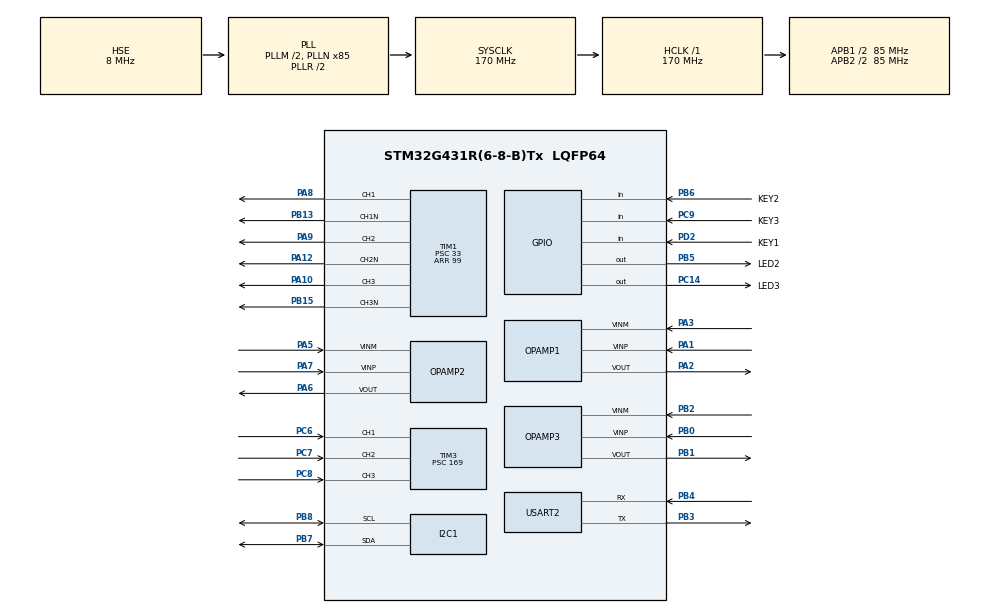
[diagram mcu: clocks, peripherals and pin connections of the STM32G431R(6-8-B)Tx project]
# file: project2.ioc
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ADC1.Channel-0\#ChannelRegularConversion=ADC_CHANNEL_3
ADC1.Channel-1\#ChannelRegularConversion=ADC_CHANNEL_12
ADC1.DMAContinuousRequests=ENABLE
ADC1.EOCSelection=ADC_EOC_SEQ_CONV
ADC1.EnableInjectedConversion=DISABLE
ADC1.ExternalTrigConv=ADC_EXTERNALTRIG_T1_TRGO
ADC1.Mode=ADC_MODE_INDEPENDENT
ADC1.NbrOfConversion=2
ADC1.NbrOfConversionFlag=1
ADC1.OffsetNumber-0\#ChannelRegularConversion=ADC_OFFSET_NONE
ADC1.OffsetNumber-1\#ChannelRegularConversion=ADC_OFFSET_NONE
ADC1.Rank-0\#ChannelRegularConversion=1
ADC1.Rank-1\#ChannelRegularConversion=2
ADC1.SamplingTime-0\#ChannelRegularConversion=ADC_SAMPLETIME_12CYCLES_5
ADC1.SamplingTime-1\#ChannelRegularConversion=ADC_SAMPLETIME_12CYCLES_5
ADC1.master=1
ADC2.Channel-0\#ChannelRegularConversion=ADC_CHANNEL_3
ADC2.DMAContinuousRequests=ENABLE
ADC2.ExternalTrigConv=ADC_EXTERNALTRIG_T1_TRGO
ADC2.NbrOfConversionFlag=1
ADC2.OffsetNumber-0\#ChannelRegularConversion=ADC_OFFSET_NONE
ADC2.Rank-0\#ChannelRegularConversion=1
ADC2.SamplingTime-0\#ChannelRegularConversion=ADC_SAMPLETIME_12CYCLES_5
Dma.ADC1.0.Direction=DMA_PERIPH_TO_MEMORY
Dma.ADC1.0.EventEnable=DISABLE
Dma.ADC1.0.Instance=DMA1_Channel1
Dma.ADC1.0.MemDataAlignment=DMA_MDATAALIGN_HALFWORD
Dma.ADC1.0.MemInc=DMA_MINC_ENABLE
Dma.ADC1.0.Mode=DMA_CIRCULAR
Dma.ADC1.0.PeriphDataAlignment=DMA_PDATAALIGN_HALFWORD
Dma.ADC1.0.PeriphInc=DMA_PINC_DISABLE
Dma.ADC1.0.Polarity=HAL_DMAMUX_REQ_GEN_RISING
Dma.ADC1.0.Priority=DMA_PRIORITY_LOW
Dma.ADC1.0.RequestNumber=1
Dma.ADC1.0.SignalID=NONE
Dma.ADC1.0.SyncEnable=DISABLE
Dma.ADC1.0.SyncPolarity=HAL_DMAMUX_SYNC_NO_EVENT
Dma.ADC1.0.SyncRequestNumber=1
Dma.ADC1.0.SyncSignalID=NONE
Dma.ADC2.1.Direction=DMA_PERIPH_TO_MEMORY
Dma.ADC2.1.EventEnable=DISABLE
Dma.ADC2.1.Instance=DMA1_Channel2
Dma.ADC2.1.MemDataAlignment=DMA_MDATAALIGN_HALFWORD
Dma.ADC2.1.MemInc=DMA_MINC_ENABLE
Dma.ADC2.1.Mode=DMA_CIRCULAR
Dma.ADC2.1.PeriphDataAlignment=DMA_PDATAALIGN_HALFWORD
Dma.ADC2.1.PeriphInc=DMA_PINC_DISABLE
Dma.ADC2.1.Polarity=HAL_DMAMUX_REQ_GEN_RISING
Dma.ADC2.1.Priority=DMA_PRIORITY_LOW
Dma.ADC2.1.RequestNumber=1
Dma.ADC2.1.SignalID=NONE
Dma.ADC2.1.SyncEnable=DISABLE
Dma.ADC2.1.SyncPolarity=HAL_DMAMUX_SYNC_NO_EVENT
Dma.ADC2.1.SyncRequestNumber=1
Dma.ADC2.1.SyncSignalID=NONE
Dma.Request0=ADC1
Dma.Request1=ADC2
I2C1.Timing=0x10E1A6F2
Mcu.Family=STM32G4
Mcu.Name=STM32G431R(6-8-B)Tx
Mcu.Package=LQFP64
NVIC.DMA1_Channel1_IRQn=true\:0\:0\:false\:false\:true\:false\:true\:true
NVIC.DMA1_Channel2_IRQn=true\:0\:0\:false\:false\:true\:false\:true\:true
NVIC.I2C1_EV_IRQn=true\:0\:0\:false\:false\:true\:true\:true\:true
NVIC.PriorityGroup=NVIC_PRIORITYGROUP_4
NVIC.TIM1_UP_TIM16_IRQn=true\:0\:0\:false\:false\:true\:true\:true\:true
NVIC.TIM2_IRQn=true\:2\:0\:true\:false\:true\:true\:true\:true
NVIC.TIM3_IRQn=true\:1\:0\:true\:false\:true\:true\:true\:true
NVIC.USART2_IRQn=true\:3\:0\:true\:false\:true\:true\:true\:true
PA1.Mode=Standalone
PA1.Signal=OPAMP1_VINP
PA10.Signal=S_TIM1_CH3
PA12.Mode=PWM Generation2 CH2 CH2N
PA12.Signal=TIM1_CH2N
PA13.Mode=Serial_Wire
PA13.Signal=SYS_JTMS-SWDIO
PA14.Mode=Serial_Wire
PA14.Signal=SYS_JTCK-SWCLK
PA2.Signal=SharedAnalog_PA2
PA3.Mode=Standalone
PA3.Signal=OPAMP1_VINM
PA5.Mode=Standalone
PA5.Signal=OPAMP2_VINM
PA6.Signal=SharedAnalog_PA6
PA7.Mode=Standalone
PA7.Signal=OPAMP2_VINP
PA8.Signal=S_TIM1_CH1
PA9.Signal=S_TIM1_CH2
PB0.Mode=Standalone
PB0.Signal=OPAMP3_VINP
PB1.Signal=SharedAnalog_PB1
PB13.Mode=PWM Generation1 CH1 CH1N
PB13.Signal=TIM1_CH1N
PB15.Mode=PWM Generation3 CH3 CH3N
PB15.Signal=TIM1_CH3N
PB2.Mode=Standalone
PB2.Signal=OPAMP3_VINM
PB3.Mode=Asynchronous
PB3.Signal=USART2_TX
PB4.Mode=Asynchronous
PB4.Signal=USART2_RX
PB5.GPIO_Label=LED2
PB5.PinState=GPIO_PIN_SET
PB5.Signal=GPIO_Output
PB6.GPIO_Label=KEY2
PB6.Signal=GPIO_Input
PB7.Mode=I2C
PB7.Signal=I2C1_SDA
PB8-BOOT0.Mode=I2C
PB8-BOOT0.Signal=I2C1_SCL
PC14-OSC32_IN.GPIO_Label=LED3
PC14-OSC32_IN.PinState=GPIO_PIN_SET
PC14-OSC32_IN.Signal=GPIO_Output
PC6.Signal=S_TIM3_CH1
PC7.Signal=S_TIM3_CH2
PC8.Signal=S_TIM3_CH3
PC9.GPIO_Label=KEY3
PC9.Signal=GPIO_Input
PD2.GPIO_Label=KEY1
PD2.Signal=GPIO_Input
PF0-OSC_IN.Mode=HSE-External-Oscillator
PF0-OSC_IN.Signal=RCC_OSC_IN
PF1-OSC_OUT.Mode=HSE-External-Oscillator
PF1-OSC_OUT.Signal=RCC_OSC_OUT
ProjectManager.HeapSize=0x200
ProjectManager.StackSize=0x400
ProjectManager.TargetToolchain=MDK-ARM V5.32
RCC.ADC12Freq_Value=170000000
RCC.AHBFreq_Value=170000000
RCC.APB1CLKDivider=RCC_HCLK_DIV2
RCC.APB1Freq_Value=85000000
RCC.APB1TimFreq_Value=170000000
RCC.APB2CLKDivider=RCC_HCLK_DIV2
RCC.APB2Freq_Value=85000000
RCC.APB2TimFreq_Value=170000000
RCC.CortexFreq_Value=170000000
RCC.EXTERNAL_CLOCK_VALUE=12288000
RCC.HCLKFreq_Value=170000000
RCC.HSE_VALUE=8000000
RCC.HSI48_VALUE=48000000
RCC.HSI_VALUE=16000000
RCC.LSE_VALUE=32768
RCC.PLLM=RCC_PLLM_DIV2
RCC.PLLN=85
RCC.PLLSourceVirtual=RCC_PLLSOURCE_HSE
RCC.SYSCLKFreq_VALUE=170000000
RCC.SYSCLKSource=RCC_SYSCLKSOURCE_PLLCLK
RCC.USBFreq_Value=170000000
RCC.VCOOutputFreq_Value=340000000
SH.S_TIM1_CH1.0=TIM1_CH1,PWM Generation1 CH1 CH1N
SH.S_TIM1_CH2.0=TIM1_CH2,PWM Generation2 CH2 CH2N
SH.S_TIM1_CH3.0=TIM1_CH3,PWM Generation3 CH3 CH3N
SH.S_TIM3_CH1.0=TIM3_CH1,Xored_Inputs_Hall_Sensor_Interface
SH.S_TIM3_CH2.0=TIM3_CH2,Xored_Inputs_Hall_Sensor_Interface
SH.S_TIM3_CH3.0=TIM3_CH3,Xored_Inputs_Hall_Sensor_Interface
SH.SharedAnalog_PA2.0=OPAMP1_VOUT,Standalone
SH.SharedAnalog_PA2.1=ADC1_IN3,IN3-Single-Ended
SH.SharedAnalog_PA6.0=OPAMP2_VOUT,Standalone
SH.SharedAnalog_PA6.1=ADC2_IN3,IN3-Single-Ended
SH.SharedAnalog_PB1.0=OPAMP3_VOUT,Standalone
SH.SharedAnalog_PB1.1=ADC1_IN12,IN12-Single-Ended
TIM1.AutoReloadPreload=TIM_AUTORELOAD_PRELOAD_ENABLE
TIM1.Channel-PWM\ Generation1\ CH1\ CH1N=TIM_CHANNEL_1
TIM1.Channel-PWM\ Generation2\ CH2\ CH2N=TIM_CHANNEL_2
TIM1.Channel-PWM\ Generation3\ CH3\ CH3N=TIM_CHANNEL_3
TIM1.CounterMode=TIM_COUNTERMODE_CENTERALIGNED1
TIM1.DeadTime=10
TIM1.PeriodNoDither=99
TIM1.Prescaler=33
TIM1.TIM_MasterOutputTrigger=TIM_TRGO_UPDATE
TIM2.PeriodNoDither=999
TIM2.Prescaler=169
TIM3.Prescaler=169
USART2.VirtualMode-Asynchronous=VM_ASYNC
VP_SYS_VS_DBSignals.Mode=DisableDeadBatterySignals
VP_TIM2_VS_ClockSourceINT.Mode=Internal
VP_TIM3_VS_ClockSourceINT.Mode=Internal
board=custom

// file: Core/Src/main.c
/* USER CODE BEGIN Header */
/**
  ******************************************************************************
  * @file           : main.c
  * @brief          : Main program body
  ******************************************************************************
  * @attention
  *
  * Copyright (c) 2026 STMicroelectronics.
  * All rights reserved.
  *
  * This software is licensed under terms that can be found in the LICENSE file
  * in the root directory of this software component.
  * If no LICENSE file comes with this software, it is provided AS-IS.
  *
  ******************************************************************************
  */
/* USER CODE END Header */
#include "main.h"
#include "adc.h"
#include "dma.h"
#include "i2c.h"
#include "opamp.h"
#include "tim.h"
#include "usart.h"
#include "gpio.h"

/* USER CODE BEGIN Includes */
#include "foc.h"
#include "bms.h"
#include "comm.h"
#include "display.h"
#include "key.h"
#include "BLDC_motor.h"
#include "encoder.h"
#include "current.h"
/* USER CODE END Includes */

void SystemClock_Config(void);

int main(void)
{

  /* MCU Configuration--------------------------------------------------------*/

  /* Reset of all peripherals, Initializes the Flash interface and the Systick. */
  HAL_Init();

  /* Configure the system clock */
  SystemClock_Config();

  /* Initialize all configured peripherals */
  MX_GPIO_Init();
  MX_DMA_Init();
  MX_USART2_UART_Init();
  MX_TIM1_Init();
  MX_TIM2_Init();
  MX_TIM3_Init();
  MX_I2C1_Init();
  MX_ADC1_Init();
  MX_ADC2_Init();
  MX_OPAMP1_Init();
  MX_OPAMP2_Init();
  MX_OPAMP3_Init();
  /* USER CODE BEGIN 2 */
  //BLDC_Motor_Init(&htim1);  // 初始化电机驱动，使用TIM1作为电机驱动的定时器

	//开启TIM2定时器中断
  HAL_TIM_Base_Start_IT(&htim2);

  FOC_Init();  // 初始化FOC控制器

  Encoder_Init();  // 初始化霍尔编码器测速

  BMS_Init();      // 初始化INA226电池监测

  Current_Init();  // 启动ADC-DMA三相电流采集
  Current_Calibrate();  // 零偏校准 (静止无电流时采100次)

  HAL_UART_Receive_IT(&huart2, rx_buf, 1);  // 启动串口中断接收
  /* USER CODE END 2 */

  /* Infinite loop */
  while (1)
  {

    /* USER CODE BEGIN 3 */
    /* 按键扫描与处理 */
    uint8_t key = KEY_Scan();

		extern float PID_Pvalue_Q;

    switch (key)
    {
			case KEY1_PRESS:
        PID_Pvalue_Q += 0.01f;
        break;

			case KEY2_PRESS:
        PID_Pvalue_Q -= 0.01f;
        break;

      case KEY3_PRESS:
        FOC_Motor_Toggle();
        break;

      default:
        break;
    }

  }
  /* USER CODE END 3 */
}

void SystemClock_Config(void)
{
  RCC_OscInitTypeDef RCC_OscInitStruct = {0};
  RCC_ClkInitTypeDef RCC_ClkInitStruct = {0};

  /** Configure the main internal regulator output voltage
  */
  HAL_PWREx_ControlVoltageScaling(PWR_REGULATOR_VOLTAGE_SCALE1_BOOST);

  /** Initializes the RCC Oscillators according to the specified parameters
  * in the RCC_OscInitTypeDef structure.
  */
  RCC_OscInitStruct.OscillatorType = RCC_OSCILLATORTYPE_HSE;
  RCC_OscInitStruct.HSEState = RCC_HSE_ON;
  RCC_OscInitStruct.PLL.PLLState = RCC_PLL_ON;
  RCC_OscInitStruct.PLL.PLLSource = RCC_PLLSOURCE_HSE;
  RCC_OscInitStruct.PLL.PLLM = RCC_PLLM_DIV2;
  RCC_OscInitStruct.PLL.PLLN = 85;
  RCC_OscInitStruct.PLL.PLLP = RCC_PLLP_DIV2;
  RCC_OscInitStruct.PLL.PLLQ = RCC_PLLQ_DIV2;
  RCC_OscInitStruct.PLL.PLLR = RCC_PLLR_DIV2;
  if (HAL_RCC_OscConfig(&RCC_OscInitStruct) != HAL_OK)
  {
    Error_Handler();
  }

  /** Initializes the CPU, AHB and APB buses clocks
  */
  RCC_ClkInitStruct.ClockType = RCC_CLOCKTYPE_HCLK|RCC_CLOCKTYPE_SYSCLK
                              |RCC_CLOCKTYPE_PCLK1|RCC_CLOCKTYPE_PCLK2;
  RCC_ClkInitStruct.SYSCLKSource = RCC_SYSCLKSOURCE_PLLCLK;
  RCC_ClkInitStruct.AHBCLKDivider = RCC_SYSCLK_DIV1;
  RCC_ClkInitStruct.APB1CLKDivider = RCC_HCLK_DIV2;
  RCC_ClkInitStruct.APB2CLKDivider = RCC_HCLK_DIV2;

  if (HAL_RCC_ClockConfig(&RCC_ClkInitStruct, FLASH_LATENCY_4) != HAL_OK)
  {
    Error_Handler();
  }
}

void Error_Handler(void)
{
  __disable_irq();
  while (1)
  {
  }
}
